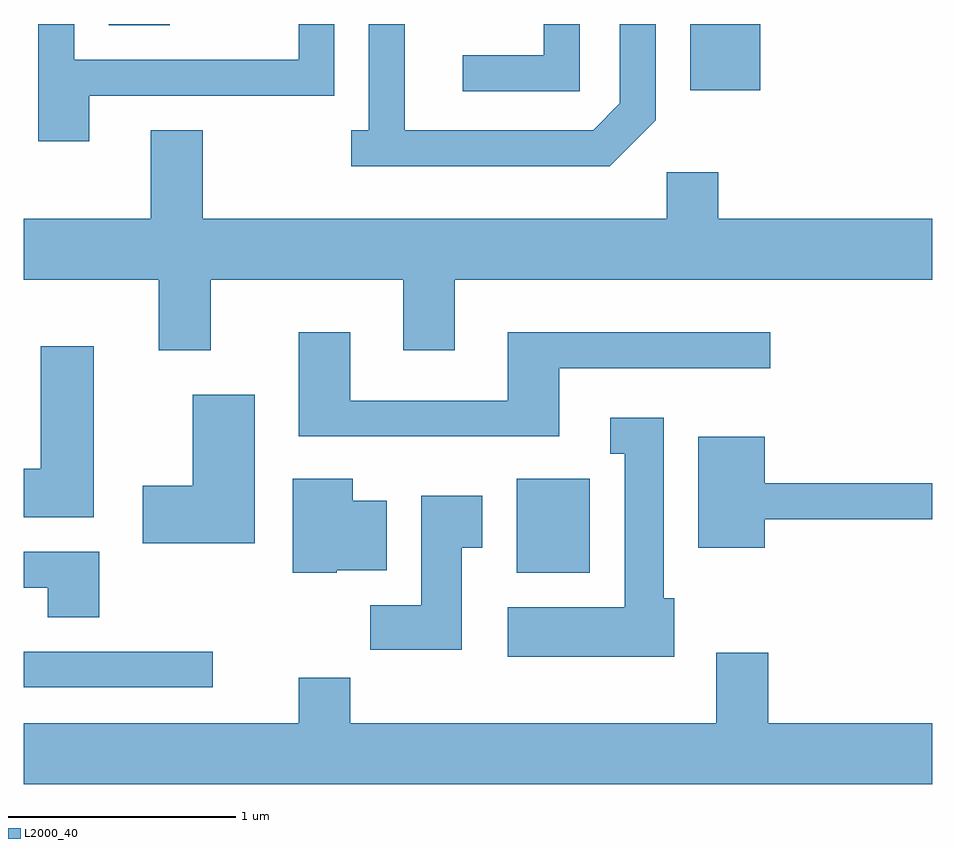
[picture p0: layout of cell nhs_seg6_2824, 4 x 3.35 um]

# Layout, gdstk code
import gdstk
lib = gdstk.Library(unit=1e-6, precision=1e-09)
def R(c, l, rs):  # rectangles x0, y0, x1, y1
    for r in rs: c.add(gdstk.rectangle(r[:2], r[2:], *l))
def P(c, l, *ps):  # polygons
    for p in ps: c.add(gdstk.Polygon(p, *l))
L2000_40 = (2000, 40)

nhs_seg6_2824 = lib.new_cell('nhs_seg6_2824')
R(nhs_seg6_2824, L2000_40, [(269.611,1659.241,270.443,1659.399), (271.781,1659.746,272.104,1660.159), (272.546,1661.871,272.854,1662.162), (269.986,1662.156,270.254,1662.162)])
P(nhs_seg6_2824, L2000_40, [(272.059,1662.162),(271.901,1662.162),(271.901,1662.024),(271.543,1662.024),(271.543,1661.866),(272.059,1661.866)],
  [(272.394,1661.739),(272.394,1662.162),(272.236,1662.162),(272.236,1661.812),(272.119,1661.694),(271.289,1661.694),(271.289,1662.162),(271.131,1662.162),(271.131,1661.694),(271.053,1661.694),(271.053,1661.536),(272.192,1661.536)],
  [(269.899,1661.846),(270.979,1661.846),(270.979,1662.162),(270.821,1662.162),(270.821,1662.004),(269.834,1662.004),(269.834,1662.162),(269.676,1662.162),(269.676,1661.646),(269.899,1661.646)],
  [(270.434,1661.036),(271.281,1661.036),(271.281,1660.726),(271.509,1660.726),(271.509,1661.036),(273.611,1661.036),(273.611,1661.304),(272.669,1661.304),(272.669,1661.509),(272.441,1661.509),(272.441,1661.304),(270.399,1661.304),(270.399,1661.694),(270.171,1661.694),(270.171,1661.304),(269.611,1661.304),(269.611,1661.036),(270.206,1661.036),(270.206,1660.726),(270.434,1660.726)],
  [(271.969,1660.646),(272.898,1660.646),(272.898,1660.804),(271.741,1660.804),(271.741,1660.504),(271.049,1660.504),(271.049,1660.804),(270.821,1660.804),(270.821,1660.346),(271.969,1660.346)],
  [(269.919,1660.744),(269.686,1660.744),(269.686,1660.204),(269.611,1660.204),(269.611,1659.991),(269.919,1659.991)],
  [(270.629,1660.529),(270.356,1660.529),(270.356,1660.129),(270.136,1660.129),(270.136,1659.876),(270.629,1659.876)],
  [(272.474,1659.634),(272.429,1659.634),(272.429,1660.429),(272.193,1660.429),(272.193,1660.271),(272.256,1660.271),(272.256,1659.594),(271.741,1659.594),(271.741,1659.376),(272.474,1659.376)],
  [(272.874,1659.981),(273.611,1659.981),(273.611,1660.139),(272.874,1660.139),(272.874,1660.344),(272.581,1660.344),(272.581,1659.856),(272.874,1659.856)],
  [(270.99,1659.756),(271.209,1659.756),(271.209,1660.064),(271.059,1660.064),(271.059,1660.159),(270.796,1660.159),(270.796,1659.746),(270.99,1659.746)],
  [(271.539,1659.856),(271.629,1659.856),(271.629,1660.084),(271.361,1660.084),(271.361,1659.604),(271.136,1659.604),(271.136,1659.406),(271.539,1659.406)],
  [(269.944,1659.839),(269.611,1659.839),(269.611,1659.681),(269.716,1659.681),(269.716,1659.551),(269.944,1659.551)],
  [(273.611,1659.084),(272.889,1659.084),(272.889,1659.394),(272.661,1659.394),(272.661,1659.084),(271.049,1659.084),(271.049,1659.284),(270.821,1659.284),(270.821,1659.084),(269.611,1659.084),(269.611,1658.816),(273.611,1658.816)])

lib.write_gds('nhs_seg6_2824.gds')
